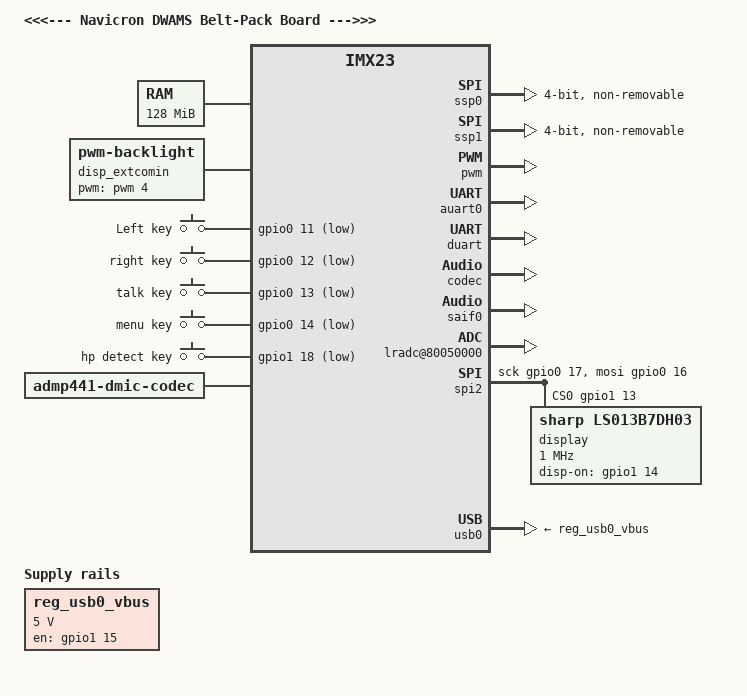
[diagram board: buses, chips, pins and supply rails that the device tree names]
/*
 * Copyright 2013 Navicron.
 *
 * The code contained herein is licensed under the GNU General Public
 * License. You may obtain a copy of the GNU General Public License
 * Version 2 or later at the following locations:
 *
 * http://www.opensource.org/licenses/gpl-license.html
 * http://www.gnu.org/copyleft/gpl.html
 */

/dts-v1/;
/include/ "imx23.dtsi"

/ {
   model = "<<<--- Navicron DWAMS Belt-Pack Board --->>>";
   compatible = "Navicron,imx23-dwams", "fsl,imx23";

   aliases {
       saif0 = &saif0;
   };

   memory {
       reg = <0x40000000 0x08000000>;
   };

    apb@80000000 {
        apbh@80000000 {
            pinctrl@80018000 {
                pinctrl-names = "default";
                pinctrl-0 = <&hog_pins_a>;
           
                hog_pins_a: hog@0 {
                    reg = <0>;
                    fsl,pinmux-ids = <
                        0x2010 /* MX23_PAD_SSP1_DETECT__SSP1_DETECT */
                        0x00b3 /* MX23_PAD_GPMI_D11__GPIO_0_11 */
                        0x00c3 /* MX23_PAD_GPMI_D12__GPIO_0_12 */
                        0x00d3 /* MX23_PAD_GPMI_D13__GPIO_0_13 */
                        0x00e3 /* MX23_PAD_GPMI_D14__GPIO_0_14 */
                        0x1123 /* MX23_PAD_LCD_RESET__GPIO_1_18 */
                    >;
                    fsl,drive-strength = <0>;
                    fsl,voltage = <1>;
                    fsl,pull-up = <0>;
                };

            mmc1_4bit_pins_a: mmc1-4bit@0 {
                reg = <0>;
                fsl,pinmux-ids = <
                    /* 0x1153 MX23_PAD_LCD_CS__GPIO_1_21 , WLAN_IRQ */
                    0x0002 /* MX23_PAD_GPMI_D00__SSP2_DATA0 */
                    0x0012 /* MX23_PAD_GPMI_D01__SSP2_DATA1 */
                    0x0022 /* MX23_PAD_GPMI_D02__SSP2_DATA2 */
                    0x0032 /* MX23_PAD_GPMI_D03__SSP2_DATA3 */
                    0x0142 /* MX23_PAD_GPMI_RDY1__SSP2_CMD */
                    0x0182 /* MX23_PAD_GPMI_WRN__SSP2_SCK */
                >;
                fsl,drive-strength = <1>;
                fsl,voltage = <0>;
                fsl,pull-up = <1>;
            };

            mmc1_pins_fixup: mmc1-pins-fixup {
                fsl,pinmux-ids = <
                    0x0182 /* MX23_PAD_GPMI_WRN__SSP2_SCK */
                >;
                fsl,pull-up = <0>;
            };
            saif0_pins_dwams: saif0@0 {
		reg = <1>;
		fsl,pinmux-ids = <
		    0x1092 /* MX23_PAD_LCD_D09__SAIF1_SDATA0 */
                    0x10a2 /* MX23_PAD_LCD_D10__SAIF_MCLK_BITCLK */
		    0x10b2 /* MX23_PAD_LCD_D11__SAIF_LRCLK */
		>;
		fsl,drive-strength = <2>;
		fsl,voltage = <1>;
		fsl,pull-up = <0>;
	    };
            display_pins_spi: display-spi@0 {
                reg = <0>;
                fsl,pinmux-ids = <
                    0x0103 /* DISP_MOSI     MX23_PAD_GPMI_CLE__GPIO_0_16 GPIO */
                    0x0113 /* DISP_SCLK     MX23_PAD_GPMI_ALE__GPIO_0_17 GPIO */
                    0x10d3 /* DISP_CS       MX23_PAD_LCD_D13__GPIO_1_13  GPIO */
                >;
                fsl,drive-strength = <2>; /* 0:4mA, 1:8mA, 2:12mA, 3:16mA */
                fsl,voltage = <1>; /* 0: 1.8V, 1: 3.3V */
                fsl,pull-up = <0>;
            };

            display_pins_ctrl: display-ctrl@0 {
                reg = <0>;
                fsl,pinmux-ids = <
                    0x10e3 /* DISP_ON       MX23_PAD_LCD_D14__GPIO_1_14  GPIO */
                >;
                fsl,drive-strength = <2>; /* 0:4mA, 1:8mA, 2:12mA, 3:16mA */
                fsl,voltage = <1>; /* 0: 1.8V, 1: 3.3V */
                fsl,pull-up = <0>; //should be 0
            };
        };
           
            ssp0: ssp@80010000 {
                compatible = "fsl,imx23-mmc";
                pinctrl-names = "default";
                pinctrl-0 = <&mmc0_4bit_pins_a &mmc0_pins_fixup>;
                bus-width = <4>;
                non-removable;
                status = "okay";
            };
           
            ssp1: ssp@80034000 {
                compatible = "fsl,imx23-mmc";
                pinctrl-names = "default";
                pinctrl-0 = <&mmc1_4bit_pins_a &mmc1_pins_fixup>;
                bus-width = <4>;
                non-removable;
                status = "okay";
            };
       
        };

        apbx@80040000 {
            pwm: pwm@80064000 {
                pinctrl-names = "default";
                pinctrl-0 = <&pwm4_pins_a>;
                status = "okay";
            };

            auart0: serial@8006c000 {
                pinctrl-names = "default";
                pinctrl-0 = <&auart0_2pins_a>;
                status = "okay";
            };

            duart: serial@80070000 {
                pinctrl-names = "default";
                pinctrl-0 = <&duart_pins_a>;
                status = "okay";
            };

            usbphy0: usbphy@8007c000 {
                status = "okay";
            };

            codec: mxs-builtin-codec {
                compatible = "fsl,mxs-builtin-codec";
                reg = <0x80048000 0x2000>, <0x8004c000 0x2000>,
                    <0x8005c000 0x2000>;
                reg-names = "audioout", "audioin", "rtc";
                clocks = <&clks 31>;
                clock-names = "filt";
            };
           
            platform_dai: mxs-builtin-cpu-dai {
                compatible = "fsl,mxs-builtin-cpu-dai";
                reg = <0x80048000 0x2000>, <0x8004c000 0x2000>,
                    <0x8005c000 0x2000>;
                reg-names = "audioout", "audioin", "rtc";
                interrupts = <8 6 4>;
                dmas = <&dma_apbx 0>, <&dma_apbx 1>;
                dma-names = "rx", "tx";
            };
            saif0: saif@80042000 {
		compatible = "fsl,imx28-saif";
		pinctrl-names = "default";
		pinctrl-0 = <&saif0_pins_dwams>;
		interrupts = <10>;
		#clock-cells = <0>;
		clocks = <&clks 37>;
		status = "okay";
	    };
            lradc@80050000 {
                compatible = "fsl,imx23-lradc";
                reg = <0x80050000 0x2000>;
                interrupts = <36 37 38 39 40 41 42 43 44>;
                status = "okay";
            };
        };
        spi2 {
            compatible = "spi-gpio";
            pinctrl-names = "default";
            pinctrl-0 = <&display_pins_spi>;
            status="okay";
            gpio-sck = <&gpio0 17 0>;
            gpio-mosi = <&gpio0 16 0>;
            cs-gpios = <&gpio1 13 0>;
            num-chipselects = <1>;
            #address-cells=<1>;
            #size-cells=<0>;

            display@0 {
                compatible = "sharp,ls013b7dh03";
                pinctrl-names = "sharp_display";
                pinctrl-0 = <&display_pins_ctrl>;
                reg = <0>;
                spi-max-frequency = <1000000>;
                gpios-disp-on = <&gpio1 14 0>;
                spi-cs-high;
            };
        };

        //driving the excomin signal from pwm4 at 60Hz
        disp_extcomin {
            compatible = "pwm-backlight";
            pwms = <&pwm 4 16666667>; //60Hz
            brightness-levels = <0 127 255>; //can turn off, 50% duty, on
            default-brightness-level = <1>; //50% duty cycle
        };
    };
    ahb@80080000 {
        usb0: usb@80080000 {
            vbus-supply = <&reg_usb0_vbus>;
            status = "okay";
        };
    };

    regulators {
        compatible = "simple-bus";

        reg_usb0_vbus: usb0_vbus {
            compatible = "regulator-fixed";
            regulator-name = "usb0_vbus";
            regulator-min-microvolt = <5000000>;
            regulator-max-microvolt = <5000000>;
            enable-active-high;
            startup-delay-us = <100>;
            gpio = <&gpio1 15 0>;
        };
    };

    mxs-builtin-audio {
        compatible = "fsl,mxs-builtin-audio";
        audio-codec = <&codec>;
        cpu-dai = <&platform_dai>;
    };
    gpio-keys {
        compatible = "gpio-keys";

        left-key {
            label = "Left key";
            gpios = <&gpio0 11 1>;
            linux,code = <105>; /* KEY_LEFT */
        };
        right-key {
            label = "right key";
            gpios = <&gpio0 12 1>;
            linux,code = <106>; /* KEY_RIGHT */
        };
        talk-key {
            label = "talk key";
            gpios = <&gpio0 13 1>;
            linux,code = <28>; /* KEY_ENTER */
        };
        menu-key {
            label = "menu key";
            gpios = <&gpio0 14 1>;
            linux,code = <139>; /* KEY_MENU */
        };
        hp-detect-key {
            label = "hp detect key";
            gpios = <&gpio1 18 1>;
            linux,code = <248>; /* KEY_MICMUTE */
        };
    };
    admp441: codec {
	compatible = "admp441-dmic-codec";
    };

    admp441-card {
	compatible = "navicron,mxs-admp441";
	saif-controller = <&saif0>;
	dmic-codec = <&admp441>;
    };
};
